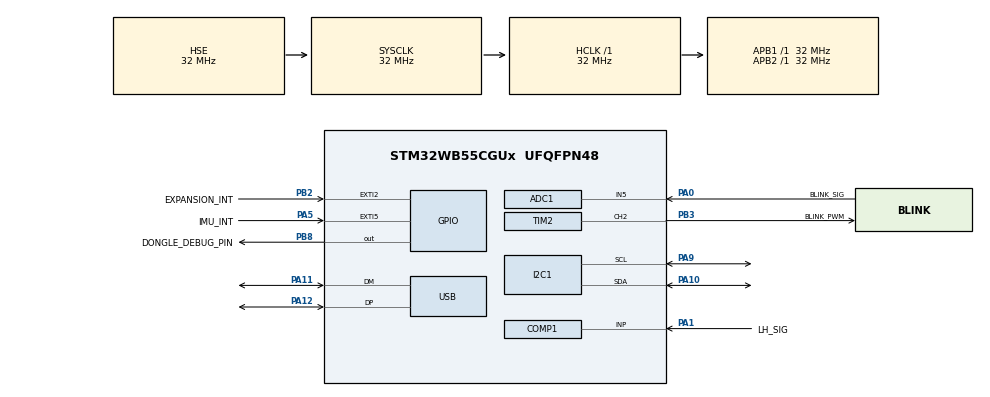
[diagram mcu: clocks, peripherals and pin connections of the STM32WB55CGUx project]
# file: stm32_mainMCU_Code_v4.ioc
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ADC1.Channel-0\#ChannelRegularConversion=ADC_CHANNEL_5
ADC1.ClockPrescaler=ADC_CLOCK_ASYNC_DIV32
ADC1.ContinuousConvMode=DISABLE
ADC1.DMAContinuousRequests=ENABLE
ADC1.EnableInjectedConversion=DISABLE
ADC1.ExternalTrigConv=ADC_EXTERNALTRIG_T2_TRGO
ADC1.NbrOfConversion=1
ADC1.NbrOfConversionFlag=1
ADC1.OffsetNumber-0\#ChannelRegularConversion=ADC_OFFSET_NONE
ADC1.Rank-0\#ChannelRegularConversion=1
ADC1.Resolution=ADC_RESOLUTION_8B
ADC1.SamplingTime-0\#ChannelRegularConversion=ADC_SAMPLETIME_247CYCLES_5
ADC1.master=1
COMP1.TriggerMode=COMP_TRIGGERMODE_IT_RISING_FALLING
Dma.ADC1.0.Direction=DMA_PERIPH_TO_MEMORY
Dma.ADC1.0.EventEnable=DISABLE
Dma.ADC1.0.Instance=DMA1_Channel1
Dma.ADC1.0.MemDataAlignment=DMA_MDATAALIGN_BYTE
Dma.ADC1.0.MemInc=DMA_MINC_ENABLE
Dma.ADC1.0.Mode=DMA_CIRCULAR
Dma.ADC1.0.PeriphDataAlignment=DMA_PDATAALIGN_BYTE
Dma.ADC1.0.PeriphInc=DMA_PINC_DISABLE
Dma.ADC1.0.Polarity=HAL_DMAMUX_REQ_GEN_RISING
Dma.ADC1.0.Priority=DMA_PRIORITY_LOW
Dma.ADC1.0.RequestNumber=1
Dma.ADC1.0.SignalID=NONE
Dma.ADC1.0.SyncEnable=DISABLE
Dma.ADC1.0.SyncPolarity=HAL_DMAMUX_SYNC_NO_EVENT
Dma.ADC1.0.SyncRequestNumber=1
Dma.ADC1.0.SyncSignalID=NONE
Dma.Request0=ADC1
FREERTOS.BinarySemaphores01=messageI2C_Lock,Dynamic,NULL;locNotify,Dynamic,NULL;locComplete,Dynamic,NULL;lightingLabDemoEnd,Dynamic,NULL
FREERTOS.Queues01=blinkMsgQueue,10,108,1,Dynamic,NULL,NULL;lightsSimpleQueue,3,4,1,Dynamic,NULL,NULL;togLoggingQueue,4,6,1,Dynamic,NULL,NULL;interProcessorMsgQueue,10,24,1,Dynamic,NULL,NULL;inertialSensingQueue,10,40,1,Dynamic,NULL,NULL;activitySampleQueue,10,16,1,Dynamic,NULL,NULL;rotationSampleQueue,3,24,1,Dynamic,NULL,NULL;pulseQueue,10,6,1,Dynamic,NULL,NULL;viveQueue,10,24,1,Dynamic,NULL,NULL;statusQueue,1,uint32_t,0,Dynamic,NULL,NULL;msgPasssingUSB_Queue,5,11,1,Dynamic,NULL,NULL
FREERTOS.Tasks01=defaultTask,24,512,DefaultTask,As weak,NULL,Dynamic,NULL,NULL;frontLightsTask,24,512,ThreadFrontLightsTask,As external,NULL,Dynamic,NULL,NULL;masterTask,24,512,MasterThreadTask,As external,NULL,Dynamic,NULL,NULL;inertialTask,24,1024,InertialSensingTask,As external,NULL,Dynamic,NULL,NULL;pulseTask,24,512,PulseHandlerTask,As external,NULL,Dynamic,NULL,NULL;interProcTask,24,512,InterProcessorTask,As external,NULL,Dynamic,NULL,NULL;blinkTask,24,512,BlinkTask,As external,NULL,Dynamic,NULL,NULL;msgPassingUSB_T,24,512,msgPassingUSB,As weak,NULL,Dynamic,NULL,NULL
FREERTOS.Timers01=viveTimer,get3D_location,osTimerPeriodic,As external,&viveStateVar,Dynamic,NULL;watchDogTimer,watchDogReset,osTimerPeriodic,Default,NULL,Dynamic,NULL
FREERTOS.configCHECK_FOR_STACK_OVERFLOW=0
FREERTOS.configGENERATE_RUN_TIME_STATS=0
FREERTOS.configMINIMAL_STACK_SIZE=512
FREERTOS.configQUEUE_REGISTRY_SIZE=12
FREERTOS.configRECORD_STACK_HIGH_ADDRESS=1
FREERTOS.configTOTAL_HEAP_SIZE=30000
FREERTOS.configUSE_MALLOC_FAILED_HOOK=0
FREERTOS.configUSE_TICKLESS_IDLE=2
FREERTOS.configUSE_TICK_HOOK=0
FREERTOS.configUSE_TRACE_FACILITY=1
I2C1.I2C_Fall_Time=200
I2C1.I2C_Rise_Time=200
I2C1.Timing=0x00E27CAE
Mcu.Family=STM32WB
Mcu.Name=STM32WB55CGUx
Mcu.Package=UFQFPN48
NVIC.COMP_IRQn=true\:5\:0\:false\:false\:true\:true\:false\:true
NVIC.DMA1_Channel1_IRQn=true\:5\:0\:false\:false\:true\:true\:false\:true
NVIC.EXTI2_IRQn=true\:5\:0\:false\:false\:true\:true\:true\:true
NVIC.EXTI9_5_IRQn=true\:5\:0\:false\:false\:true\:true\:true\:true
NVIC.HSEM_IRQn=true\:5\:0\:false\:false\:true\:false\:false\:true
NVIC.I2C1_EV_IRQn=true\:5\:0\:false\:false\:true\:true\:true\:true
NVIC.PriorityGroup=NVIC_PRIORITYGROUP_4
NVIC.TIM1_UP_TIM16_IRQn=true\:0\:0\:false\:false\:true\:false\:false\:true
NVIC.TIM2_IRQn=true\:5\:0\:false\:false\:true\:true\:true\:true
NVIC.TimeBase=TIM1_UP_TIM16_IRQn
NVIC.TimeBaseIP=TIM1
NVIC.USB_LP_IRQn=true\:5\:0\:false\:false\:true\:true\:false\:true
OSC_IN.Mode=HSE-External-Oscillator
OSC_IN.Signal=RCC_OSC_IN
OSC_OUT.Mode=HSE-External-Oscillator
OSC_OUT.Signal=RCC_OSC_OUT
PA0.GPIO_Label=BLINK_SIG
PA0.Signal=ADCx_IN5
PA1.GPIO_Label=LH_SIG
PA1.Mode=INP
PA1.Signal=COMP1_INP
PA10.GPIO_PuPdOD=GPIO_NOPULL
PA10.Mode=I2C
PA10.Signal=I2C1_SDA
PA11.Mode=Device
PA11.Signal=USB_DM
PA12.Mode=Device
PA12.Signal=USB_DP
PA13.Mode=Serial_Wire
PA13.Signal=SYS_JTMS-SWDIO
PA14.Mode=Serial_Wire
PA14.Signal=SYS_JTCK-SWCLK
PA5.GPIO_Label=IMU_INT
PA5.GPIO_ModeDefaultEXTI=GPIO_MODE_IT_FALLING
PA5.GPIO_PuPd=GPIO_PULLUP
PA5.Signal=GPXTI5
PA9.GPIO_PuPdOD=GPIO_NOPULL
PA9.Mode=I2C
PA9.Signal=I2C1_SCL
PB2.GPIO_Label=EXPANSION_INT
PB2.GPIO_PuPd=GPIO_NOPULL
PB2.Signal=GPXTI2
PB3.GPIO_Label=BLINK_PWM
PB3.Signal=S_TIM2_CH2
PB8.GPIO_Label=DONGLE_DEBUG_PIN
PB8.Signal=GPIO_Output
PC14-OSC32_IN.Mode=LSE-External-Oscillator
PC14-OSC32_IN.Signal=RCC_OSC32_IN
PC15-OSC32_OUT.Mode=LSE-External-Oscillator
PC15-OSC32_OUT.Signal=RCC_OSC32_OUT
ProjectManager.HeapSize=0x200
ProjectManager.StackSize=0x400
ProjectManager.TargetToolchain=STM32CubeIDE
RCC.ADCFreq_Value=48000000
RCC.AHBFreq_Value=32000000
RCC.APB1Freq_Value=32000000
RCC.APB1TimFreq_Value=32000000
RCC.APB2Freq_Value=32000000
RCC.APB2TimFreq_Value=32000000
RCC.APB3Freq_Value=16000000
RCC.CortexFreq_Value=32000000
RCC.HCLKFreq_Value=32000000
RCC.HSE_VALUE=32000000
RCC.HSI48_VALUE=48000000
RCC.HSI_VALUE=16000000
RCC.MSIClockRange=RCC_MSIRANGE_10
RCC.PLLM=RCC_PLLM_DIV2
RCC.PLLSAI1N=6
RCC.PLLSourceVirtual=RCC_PLLSOURCE_HSE
RCC.RFWKPClockSelection=RCC_RFWKPCLKSOURCE_LSE
RCC.RTCClockSelection=RCC_RTCCLKSOURCE_HSE_DIV32
RCC.SMPSCLockSelectionVirtual=RCC_SMPSCLKSOURCE_HSE
RCC.SMPSDivider=4
RCC.SYSCLKFreq_VALUE=32000000
RCC.SYSCLKSource=RCC_SYSCLKSOURCE_HSE
RCC.USBFreq_Value=48000000
RCC.VCOOutputFreq_Value=128000000
RF1.Mode=RF1_Activate
RF1.Signal=RF_RF1
SH.ADCx_IN5.0=ADC1_IN5,IN5-Single-Ended
SH.S_TIM2_CH2.0=TIM2_CH2,PWM Generation2 CH2
STM32_WPAN.APPLI_CONFIG_LOG_LEVEL=LOG_LEVEL_NONE
STM32_WPAN.CFG_DEBUGGER_SUPPORTED=0
STM32_WPAN.CFG_FAST_CONN_ADV_INTERVAL_MAX_HEXA=0x0
STM32_WPAN.CFG_FAST_CONN_ADV_INTERVAL_MIN_HEXA=0x0
STM32_WPAN.CFG_HW_USART1_ENABLED=0
STM32_WPAN.CFG_LP_CONN_ADV_INTERVAL_MAX_HEXA=0x0
STM32_WPAN.CFG_LP_CONN_ADV_INTERVAL_MIN_HEXA=0x0
STM32_WPAN.CHANNEL=23
STM32_WPAN.LOCAL_NAME_FORMATTED=,'0'
STM32_WPAN.PANID=1234
STM32_WPAN.THREAD_APPLICATION=FTD
TIM16.Period=65535
TIM16.Prescaler=31
TIM2.AutoReloadPreload=TIM_AUTORELOAD_PRELOAD_ENABLE
TIM2.Channel-Output\ Compare4\ No\ Output=TIM_CHANNEL_4
TIM2.Channel-PWM\ Generation2\ CH2=TIM_CHANNEL_2
TIM2.Channel-PWM\ Generation3\ CH3=TIM_CHANNEL_3
TIM2.CounterMode=TIM_COUNTERMODE_CENTERALIGNED1
TIM2.OC2Preload_PWM=DISABLE
TIM2.OC4Preload=DISABLE
TIM2.OCMode_PWM-PWM\ Generation2\ CH2=TIM_OCMODE_PWM1
TIM2.Period=10
TIM2.Prescaler=1599
TIM2.Pulse-PWM\ Generation2\ CH2=5
TIM2.TIM_MasterOutputTrigger=TIM_TRGO_UPDATE
TIM2.TIM_MasterSlaveMode=TIM_MASTERSLAVEMODE_DISABLE
USB_DEVICE.CLASS_NAME_FS=CDC
USB_DEVICE.VirtualMode=Cdc
USB_DEVICE.VirtualModeFS=Cdc_FS
VP_COMP1_VS_VREFINT12.Mode=VREFINT_12
VP_FREERTOS_VS_CMSIS_V2.Mode=CMSIS_V2
VP_HSEM_VS_HSEM.Mode=HSEM_Activate
VP_RTC_VS_RTC_Activate.Mode=RTC_Enabled
VP_STM32_WPAN_VS_THREAD.Mode=STM32_WPAN_Enabled
VP_SYS_VS_tim1.Mode=TIM1
VP_TIM16_VS_ClockSourceINT.Mode=Enable_Timer
VP_TIM2_VS_ClockSourceINT.Mode=Internal
VP_TIM2_VS_no_output4.Mode=Output Compare4 No Output
VP_TINY_LPM_VS_TINY_LPM.Mode=TINY_LPM_Enabled
VP_USB_DEVICE_VS_USB_DEVICE_CDC_FS.Mode=CDC_FS
board=custom

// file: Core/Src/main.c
/* USER CODE BEGIN Header */
/**
  ******************************************************************************
  * @file           : main.c
  * @brief          : Main program body
  ******************************************************************************
  * @attention
  *
  * <h2><center>&copy; Copyright (c) 2019 STMicroelectronics.
  * All rights reserved.</center></h2>
  *
  * This software component is licensed by ST under Ultimate Liberty license
  * SLA0044, the "License"; You may not use this file except in compliance with
  * the License. You may obtain a copy of the License at:
  *                             www.st.com/SLA0044
  *
  ******************************************************************************
  */
/* USER CODE END Header */
#include "main.h"
#include "cmsis_os.h"
#include "adc.h"
#include "comp.h"
#include "dma.h"
#include "i2c.h"
#include "rf.h"
#include "rtc.h"
#include "app_entry.h"
#include "app_common.h"
#include "tim.h"
#include "usb_device.h"
#include "gpio.h"

/* USER CODE BEGIN Includes */
#include "input.h"
#include "pulse_processor.h"
#include "circular_buffer.h"
#include "tsc.h"
#include "touch_detector.h"
#include "touchsensing.h"
#include "captivate_config.h"
#include "usbd_cdc.h"
#include "usb_device.h"
#include "touch_detector.h"
#include "otp.h"

#include "stm32_lpm.h"
#include "stm32_seq.h"
#include "dbg_trace.h"
#include "hw_conf.h"
/* USER CODE END Includes */

/* USER CODE BEGIN PD */
#define HAL_TSC_MODULE_ENABLED
/* USER CODE END PD */

void SystemClock_Config(void);
void MX_FREERTOS_Init(void);
/* USER CODE BEGIN PFP */
static void Reset_Device( void );
static void Reset_IPCC( void );
static void Reset_BackupDomain( void );
static void Init_Exti( void );
static void Config_HSE(void);
/* USER CODE END PFP */

int main(void)
{
  /* USER CODE BEGIN 1 */
	  /**
	   * The OPTVERR flag is wrongly set at power on
	   * It shall be cleared before using any HAL_FLASH_xxx() api
	   */
	   __HAL_FLASH_CLEAR_FLAG(FLASH_FLAG_OPTVERR);
  /* USER CODE END 1 */

  /* MCU Configuration--------------------------------------------------------*/

  /* Reset of all peripherals, Initializes the Flash interface and the Systick. */
  HAL_Init();

  /* USER CODE BEGIN Init */
  Reset_Device();
    Config_HSE();
  /* USER CODE END Init */

  /* Configure the system clock */
  SystemClock_Config();

  /* USER CODE BEGIN SysInit */
  Init_Exti(); /**< Configure the system Power Mode */

  /* USER CODE END SysInit */

  /* Initialize all configured peripherals */
  MX_GPIO_Init();
  MX_DMA_Init();
  MX_ADC1_Init();
  MX_RTC_Init();
  MX_TIM2_Init();
  MX_RF_Init();
  MX_I2C1_Init();
  MX_COMP1_Init();
  MX_TIM16_Init();
  MX_USB_Device_Init();
  /* USER CODE BEGIN 2 */
  MX_TSC_Init();

#ifndef BORDER_ROUTER_NODE
//  USBD_Stop(&hUsbDeviceFS);
#endif

//  HAL_IWDG_Refresh(&hiwdg);

  /* USER CODE END 2 */

  /* Init scheduler */
  osKernelInitialize();  /* Call init function for freertos objects (in freertos.c) */
  MX_FREERTOS_Init();
  /* Start scheduler */
  osKernelStart();

  /* We should never get here as control is now taken by the scheduler */
  /* Infinite loop */
  /* USER CODE BEGIN WHILE */
//	// start  PWM channel for blink LED
//	HAL_TIM_PWM_Start(&htim2, TIM_CHANNEL_2);
//
//	// start timer
//	HAL_TIM_Base_Start(&htim2);

  while (1)
  {
//	  UTIL_SEQ_Run( UTIL_SEQ_DEFAULT );
    /* USER CODE END WHILE */

  }
}

void SystemClock_Config(void)
{
  RCC_OscInitTypeDef RCC_OscInitStruct = {0};
  RCC_ClkInitTypeDef RCC_ClkInitStruct = {0};
  RCC_PeriphCLKInitTypeDef PeriphClkInitStruct = {0};

  /** Macro to configure the PLL multiplication factor
  */
  __HAL_RCC_PLL_PLLM_CONFIG(RCC_PLLM_DIV2);
  /** Macro to configure the PLL clock source
  */
  __HAL_RCC_PLL_PLLSOURCE_CONFIG(RCC_PLLSOURCE_HSE);
  /** Configure LSE Drive Capability
  */
  HAL_PWR_EnableBkUpAccess();
  __HAL_RCC_LSEDRIVE_CONFIG(RCC_LSEDRIVE_LOW);
  /** Configure the main internal regulator output voltage
  */
  __HAL_PWR_VOLTAGESCALING_CONFIG(PWR_REGULATOR_VOLTAGE_SCALE1);
  /** Initializes the RCC Oscillators according to the specified parameters
  * in the RCC_OscInitTypeDef structure.
  */
  RCC_OscInitStruct.OscillatorType = RCC_OSCILLATORTYPE_HSI|RCC_OSCILLATORTYPE_HSE
                              |RCC_OSCILLATORTYPE_LSE;
  RCC_OscInitStruct.HSEState = RCC_HSE_ON;
  RCC_OscInitStruct.LSEState = RCC_LSE_ON;
  RCC_OscInitStruct.HSIState = RCC_HSI_ON;
  RCC_OscInitStruct.HSICalibrationValue = RCC_HSICALIBRATION_DEFAULT;
  RCC_OscInitStruct.PLL.PLLState = RCC_PLL_NONE;
  if (HAL_RCC_OscConfig(&RCC_OscInitStruct) != HAL_OK)
  {
    Error_Handler();
  }
  /** Configure the SYSCLKSource, HCLK, PCLK1 and PCLK2 clocks dividers
  */
  RCC_ClkInitStruct.ClockType = RCC_CLOCKTYPE_HCLK4|RCC_CLOCKTYPE_HCLK2
                              |RCC_CLOCKTYPE_HCLK|RCC_CLOCKTYPE_SYSCLK
                              |RCC_CLOCKTYPE_PCLK1|RCC_CLOCKTYPE_PCLK2;
  RCC_ClkInitStruct.SYSCLKSource = RCC_SYSCLKSOURCE_HSE;
  RCC_ClkInitStruct.AHBCLKDivider = RCC_SYSCLK_DIV1;
  RCC_ClkInitStruct.APB1CLKDivider = RCC_HCLK_DIV1;
  RCC_ClkInitStruct.APB2CLKDivider = RCC_HCLK_DIV1;
  RCC_ClkInitStruct.AHBCLK2Divider = RCC_SYSCLK_DIV1;
  RCC_ClkInitStruct.AHBCLK4Divider = RCC_SYSCLK_DIV1;

  if (HAL_RCC_ClockConfig(&RCC_ClkInitStruct, FLASH_LATENCY_1) != HAL_OK)
  {
    Error_Handler();
  }
  /** Initializes the peripherals clocks
  */
  PeriphClkInitStruct.PeriphClockSelection = RCC_PERIPHCLK_SMPS|RCC_PERIPHCLK_RFWAKEUP
                              |RCC_PERIPHCLK_RTC|RCC_PERIPHCLK_I2C1
                              |RCC_PERIPHCLK_USB|RCC_PERIPHCLK_ADC;
  PeriphClkInitStruct.PLLSAI1.PLLN = 6;
  PeriphClkInitStruct.PLLSAI1.PLLP = RCC_PLLP_DIV2;
  PeriphClkInitStruct.PLLSAI1.PLLQ = RCC_PLLQ_DIV2;
  PeriphClkInitStruct.PLLSAI1.PLLR = RCC_PLLR_DIV2;
  PeriphClkInitStruct.PLLSAI1.PLLSAI1ClockOut = RCC_PLLSAI1_USBCLK|RCC_PLLSAI1_ADCCLK;
  PeriphClkInitStruct.I2c1ClockSelection = RCC_I2C1CLKSOURCE_PCLK1;
  PeriphClkInitStruct.UsbClockSelection = RCC_USBCLKSOURCE_PLLSAI1;
  PeriphClkInitStruct.AdcClockSelection = RCC_ADCCLKSOURCE_PLLSAI1;
  PeriphClkInitStruct.RTCClockSelection = RCC_RTCCLKSOURCE_HSE_DIV32;
  PeriphClkInitStruct.RFWakeUpClockSelection = RCC_RFWKPCLKSOURCE_LSE;
  PeriphClkInitStruct.SmpsClockSelection = RCC_SMPSCLKSOURCE_HSE;
  PeriphClkInitStruct.SmpsDivSelection = RCC_SMPSCLKDIV_RANGE1;
  if (HAL_RCCEx_PeriphCLKConfig(&PeriphClkInitStruct) != HAL_OK)
  {
    Error_Handler();
  }
}

/* USER CODE BEGIN 4 */
static void Config_HSE(void)
{
    OTP_ID0_t * p_otp;

  /**
   * Read HSE_Tuning from OTP
   */
  p_otp = (OTP_ID0_t *) OTP_Read(0);
  if (p_otp)
  {
    LL_RCC_HSE_SetCapacitorTuning(p_otp->hse_tuning);
  }

  return;
}

static void Reset_Device( void )
{
#if ( CFG_HW_RESET_BY_FW == 1 )
	Reset_BackupDomain();

	Reset_IPCC();
#endif

	return;
}

static void Reset_IPCC( void )
{
	LL_AHB3_GRP1_EnableClock(LL_AHB3_GRP1_PERIPH_IPCC);

	LL_C1_IPCC_ClearFlag_CHx(
			IPCC,
			LL_IPCC_CHANNEL_1 | LL_IPCC_CHANNEL_2 | LL_IPCC_CHANNEL_3 | LL_IPCC_CHANNEL_4
			| LL_IPCC_CHANNEL_5 | LL_IPCC_CHANNEL_6);

	LL_C2_IPCC_ClearFlag_CHx(
			IPCC,
			LL_IPCC_CHANNEL_1 | LL_IPCC_CHANNEL_2 | LL_IPCC_CHANNEL_3 | LL_IPCC_CHANNEL_4
			| LL_IPCC_CHANNEL_5 | LL_IPCC_CHANNEL_6);

	LL_C1_IPCC_DisableTransmitChannel(
			IPCC,
			LL_IPCC_CHANNEL_1 | LL_IPCC_CHANNEL_2 | LL_IPCC_CHANNEL_3 | LL_IPCC_CHANNEL_4
			| LL_IPCC_CHANNEL_5 | LL_IPCC_CHANNEL_6);

	LL_C2_IPCC_DisableTransmitChannel(
			IPCC,
			LL_IPCC_CHANNEL_1 | LL_IPCC_CHANNEL_2 | LL_IPCC_CHANNEL_3 | LL_IPCC_CHANNEL_4
			| LL_IPCC_CHANNEL_5 | LL_IPCC_CHANNEL_6);

	LL_C1_IPCC_DisableReceiveChannel(
			IPCC,
			LL_IPCC_CHANNEL_1 | LL_IPCC_CHANNEL_2 | LL_IPCC_CHANNEL_3 | LL_IPCC_CHANNEL_4
			| LL_IPCC_CHANNEL_5 | LL_IPCC_CHANNEL_6);

	LL_C2_IPCC_DisableReceiveChannel(
			IPCC,
			LL_IPCC_CHANNEL_1 | LL_IPCC_CHANNEL_2 | LL_IPCC_CHANNEL_3 | LL_IPCC_CHANNEL_4
			| LL_IPCC_CHANNEL_5 | LL_IPCC_CHANNEL_6);

	return;
}

static void Reset_BackupDomain( void )
{
	if ((LL_RCC_IsActiveFlag_PINRST() != FALSE) && (LL_RCC_IsActiveFlag_SFTRST() == FALSE))
	{
		HAL_PWR_EnableBkUpAccess(); /**< Enable access to the RTC registers */

		/**
		 *  Write twice the value to flush the APB-AHB bridge
		 *  This bit shall be written in the register before writing the next one
		 */
		HAL_PWR_EnableBkUpAccess();

		__HAL_RCC_BACKUPRESET_FORCE();
		__HAL_RCC_BACKUPRESET_RELEASE();
	}

	return;
}

static void Init_Exti( void )
{
  /**< Disable all wakeup interrupt on CPU1  except IPCC(36), HSEM(38) */
  LL_EXTI_DisableIT_0_31(~0);
  LL_EXTI_DisableIT_32_63( (~0) & (~(LL_EXTI_LINE_36 | LL_EXTI_LINE_38)) );

  return;
}
/* USER CODE END 4 */

 /**
  * @brief  Period elapsed callback in non blocking mode
  * @note   This function is called  when TIM1 interrupt took place, inside
  * HAL_TIM_IRQHandler(). It makes a direct call to HAL_IncTick() to increment
  * a global variable "uwTick" used as application time base.
  * @param  htim : TIM handle
  * @retval None
  */
void HAL_TIM_PeriodElapsedCallback(TIM_HandleTypeDef *htim)
{
  if (htim->Instance == TIM1) {
    HAL_IncTick();
  }
  /* USER CODE BEGIN Callback 1 */
#ifdef DONGLE_CODE
//  if (htim->Instance == TIM2) {
////	  HAL_GPIO_WritePin(DONGLE_DEBUG_PIN_GPIO_Port, DONGLE_DEBUG_PIN_Pin, GPIO_PIN_SET);
//	  HAL_GPIO_TogglePin(DONGLE_DEBUG_PIN_GPIO_Port, DONGLE_DEBUG_PIN_Pin);
//  }
#endif

//void HAL_TIM_PeriodElapsedHalfCpltCallback(TIM_HandleTypeDef *htim){
//#ifdef DONGLE_CODE
// if (htim->Instance == TIM2) {
//	 HAL_GPIO_WritePin(DONGLE_DEBUG_PIN_GPIO_Port, DONGLE_DEBUG_PIN_Pin, GPIO_PIN_RESET);
//  }
//#endif
//}
  /* USER CODE END Callback 1 */
}

void Error_Handler(void)
{
}

/************************ (C) COPYRIGHT STMicroelectronics *****END OF FILE****/

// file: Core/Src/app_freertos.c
/* USER CODE BEGIN Header */
/**
  ******************************************************************************
  * File Name          : app_freertos.c
  * Description        : Code for freertos applications
  ******************************************************************************
  * @attention
  *
  * <h2><center>&copy; Copyright (c) 2019 STMicroelectronics.
  * All rights reserved.</center></h2>
  *
  * This software component is licensed by ST under Ultimate Liberty license
  * SLA0044, the "License"; You may not use this file except in compliance with
  * the License. You may obtain a copy of the License at:
  *                             www.st.com/SLA0044
  *
  ******************************************************************************
  */
/* USER CODE END Header */

#include "FreeRTOS.h"
#include "task.h"
#include "main.h"
#include "cmsis_os.h"

/* USER CODE BEGIN Includes */
#include "adc.h"
#include "tim.h"
#include "lp5523.h"
#include "blink.h"
#include "app_entry.h"
#include "master_thread.h"
#include "system_settings.h"
#include "inter_processor_comms.h"
#include "inertial_sensing.h"
#include "input.h"
#include "pulse_processor.h"
#include "messages.h"
#include "captivate_config.h"
#include "input.h"
//#include "iwdg.h"
#include "usbd_cdc_if.h"
#include "coap.h"
#include "app_thread.h"
/* USER CODE END Includes */

/* USER CODE BEGIN Variables */

//osThreadId_t blinkTaskHandle;
////osMessageQueueId_t	blinkMsgQueueHandle;
//
//osThreadId_t 		frontLightsTaskHandle;
//osMessageQueueId_t	lightsSimpleQueueHandle;
//
//osMessageQueueId_t	togLoggingQueueHandle;
//osThreadId_t masterTaskHandle;
//
//osSemaphoreId_t messageI2C_LockSem;
//
//osThreadId_t inertialTaskHandle;
//osMessageQueueId_t inertialSensingQueueHandle;
//
//osMessageQueueId_t activitySampleQueueHandle;
//osMessageQueueId_t rotationSampleQueueHandle;
//
//osThreadId_t interProcTaskHandle;
//osMessageQueueId_t	 interProcessorMsgQueueHandle;
//
//osThreadId_t pulseTaskHandle;

//uint8_t temp[2048] = {0};
/* USER CODE END Variables */
/* Definitions for defaultTask */
osThreadId_t defaultTaskHandle;
const osThreadAttr_t defaultTask_attributes = {
  .name = "defaultTask",
  .priority = (osPriority_t) osPriorityNormal,
  .stack_size = 512 * 4
};
/* Definitions for frontLightsTask */
osThreadId_t frontLightsTaskHandle;
const osThreadAttr_t frontLightsTask_attributes = {
  .name = "frontLightsTask",
  .priority = (osPriority_t) osPriorityNormal,
  .stack_size = 512 * 4
};
/* Definitions for masterTask */
osThreadId_t masterTaskHandle;
const osThreadAttr_t masterTask_attributes = {
  .name = "masterTask",
  .priority = (osPriority_t) osPriorityNormal,
  .stack_size = 512 * 4
};
/* Definitions for inertialTask */
osThreadId_t inertialTaskHandle;
const osThreadAttr_t inertialTask_attributes = {
  .name = "inertialTask",
  .priority = (osPriority_t) osPriorityNormal,
  .stack_size = 1024 * 4
};
/* Definitions for pulseTask */
osThreadId_t pulseTaskHandle;
const osThreadAttr_t pulseTask_attributes = {
  .name = "pulseTask",
  .priority = (osPriority_t) osPriorityNormal,
  .stack_size = 512 * 4
};
/* Definitions for interProcTask */
osThreadId_t interProcTaskHandle;
const osThreadAttr_t interProcTask_attributes = {
  .name = "interProcTask",
  .priority = (osPriority_t) osPriorityNormal,
  .stack_size = 512 * 4
};
/* Definitions for blinkTask */
osThreadId_t blinkTaskHandle;
const osThreadAttr_t blinkTask_attributes = {
  .name = "blinkTask",
  .priority = (osPriority_t) osPriorityNormal,
  .stack_size = 512 * 4
};
/* Definitions for msgPassingUSB_T */
osThreadId_t msgPassingUSB_THandle;
const osThreadAttr_t msgPassingUSB_T_attributes = {
  .name = "msgPassingUSB_T",
  .priority = (osPriority_t) osPriorityNormal,
  .stack_size = 512 * 4
};
/* Definitions for blinkMsgQueue */
osMessageQueueId_t blinkMsgQueueHandle;
const osMessageQueueAttr_t blinkMsgQueue_attributes = {
  .name = "blinkMsgQueue"
};
/* Definitions for lightsSimpleQueue */
osMessageQueueId_t lightsSimpleQueueHandle;
const osMessageQueueAttr_t lightsSimpleQueue_attributes = {
  .name = "lightsSimpleQueue"
};
/* Definitions for togLoggingQueue */
osMessageQueueId_t togLoggingQueueHandle;
const osMessageQueueAttr_t togLoggingQueue_attributes = {
  .name = "togLoggingQueue"
};
/* Definitions for interProcessorMsgQueue */
osMessageQueueId_t interProcessorMsgQueueHandle;
const osMessageQueueAttr_t interProcessorMsgQueue_attributes = {
  .name = "interProcessorMsgQueue"
};
/* Definitions for inertialSensingQueue */
osMessageQueueId_t inertialSensingQueueHandle;
const osMessageQueueAttr_t inertialSensingQueue_attributes = {
  .name = "inertialSensingQueue"
};
/* Definitions for activitySampleQueue */
osMessageQueueId_t activitySampleQueueHandle;
const osMessageQueueAttr_t activitySampleQueue_attributes = {
  .name = "activitySampleQueue"
};
/* Definitions for rotationSampleQueue */
osMessageQueueId_t rotationSampleQueueHandle;
const osMessageQueueAttr_t rotationSampleQueue_attributes = {
  .name = "rotationSampleQueue"
};
/* Definitions for pulseQueue */
osMessageQueueId_t pulseQueueHandle;
const osMessageQueueAttr_t pulseQueue_attributes = {
  .name = "pulseQueue"
};
/* Definitions for viveQueue */
osMessageQueueId_t viveQueueHandle;
const osMessageQueueAttr_t viveQueue_attributes = {
  .name = "viveQueue"
};
/* Definitions for statusQueue */
osMessageQueueId_t statusQueueHandle;
const osMessageQueueAttr_t statusQueue_attributes = {
  .name = "statusQueue"
};
/* Definitions for msgPasssingUSB_Queue */
osMessageQueueId_t msgPasssingUSB_QueueHandle;
const osMessageQueueAttr_t msgPasssingUSB_Queue_attributes = {
  .name = "msgPasssingUSB_Queue"
};
/* Definitions for viveTimer */
osTimerId_t viveTimerHandle;
const osTimerAttr_t viveTimer_attributes = {
  .name = "viveTimer"
};
/* Definitions for watchDogTimer */
osTimerId_t watchDogTimerHandle;
const osTimerAttr_t watchDogTimer_attributes = {
  .name = "watchDogTimer"
};
/* Definitions for messageI2C_Lock */
osSemaphoreId_t messageI2C_LockHandle;
const osSemaphoreAttr_t messageI2C_Lock_attributes = {
  .name = "messageI2C_Lock"
};
/* Definitions for locNotify */
osSemaphoreId_t locNotifyHandle;
const osSemaphoreAttr_t locNotify_attributes = {
  .name = "locNotify"
};
/* Definitions for locComplete */
osSemaphoreId_t locCompleteHandle;
const osSemaphoreAttr_t locComplete_attributes = {
  .name = "locComplete"
};
/* Definitions for lightingLabDemoEnd */
osSemaphoreId_t lightingLabDemoEndHandle;
const osSemaphoreAttr_t lightingLabDemoEnd_attributes = {
  .name = "lightingLabDemoEnd"
};

void DefaultTask(void *argument);
extern void ThreadFrontLightsTask(void *argument);
extern void MasterThreadTask(void *argument);
extern void InertialSensingTask(void *argument);
extern void PulseHandlerTask(void *argument);
extern void InterProcessorTask(void *argument);
extern void BlinkTask(void *argument);
void msgPassingUSB(void *argument);
extern void get3D_location(void *argument);
void watchDogReset(void *argument);

void MX_FREERTOS_Init(void); /* (MISRA C 2004 rule 8.1) */

/* Hook prototypes */
void configureTimerForRunTimeStats(void);
unsigned long getRunTimeCounterValue(void);
void vApplicationTickHook(void);
void vApplicationStackOverflowHook(xTaskHandle xTask, signed char *pcTaskName);
void vApplicationMallocFailedHook(void);

/* USER CODE BEGIN 1 */
/* Functions needed when configGENERATE_RUN_TIME_STATS is on */
volatile unsigned long ulHighFrequencyTimerTicks;
__weak void configureTimerForRunTimeStats(void)
{

}

__weak unsigned long getRunTimeCounterValue(void)
{
return HAL_GetTick();
}
/* USER CODE END 1 */

/* USER CODE BEGIN 3 */
__weak void vApplicationTickHook( void )
{
   /* This function will be called by each tick interrupt if
   configUSE_TICK_HOOK is set to 1 in FreeRTOSConfig.h. User code can be
   added here, but the tick hook is called from an interrupt context, so
   code must not attempt to block, and only the interrupt safe FreeRTOS API
   functions can be used (those that end in FromISR()). */
}
/* USER CODE END 3 */

/* USER CODE BEGIN 4 */
volatile uint8_t test=0;
__weak void vApplicationStackOverflowHook(xTaskHandle xTask, signed char *pcTaskName)
{

   /* Run time stack overflow checking is performed if
   configCHECK_FOR_STACK_OVERFLOW is defined to 1 or 2. This hook function is
   called if a stack overflow is detected. */
	test += 1;
}
/* USER CODE END 4 */

/* USER CODE BEGIN 5 */
__weak void vApplicationMallocFailedHook(void)
{
   /* vApplicationMallocFailedHook() will only be called if
   configUSE_MALLOC_FAILED_HOOK is set to 1 in FreeRTOSConfig.h. It is a hook
   function that will get called if a call to pvPortMalloc() fails.
   pvPortMalloc() is called internally by the kernel whenever a task, queue,
   timer or semaphore is created. It is also called by various parts of the
   demo application. If heap_1.c or heap_2.c are used, then the size of the
   heap available to pvPortMalloc() is defined by configTOTAL_HEAP_SIZE in
   FreeRTOSConfig.h, and the xPortGetFreeHeapSize() API function can be used
   to query the size of free heap space that remains (although it does not
   provide information on how the remaining heap might be fragmented). */
	test += 1;

}
/* USER CODE END 5 */

/* USER CODE BEGIN VPORT_SUPPORT_TICKS_AND_SLEEP */
__weak void vPortSuppressTicksAndSleep( TickType_t xExpectedIdleTime )
{
  // Generated when configUSE_TICKLESS_IDLE == 2.
  // Function called in tasks.c (in portTASK_FUNCTION).
  // TO BE COMPLETED or TO BE REPLACED by a user one, overriding that weak one.
}
/* USER CODE END VPORT_SUPPORT_TICKS_AND_SLEEP */

void MX_FREERTOS_Init(void) {

  /* Create the semaphores(s) */
  /* creation of messageI2C_Lock */
  messageI2C_LockHandle = osSemaphoreNew(1, 1, &messageI2C_Lock_attributes);

  /* creation of locNotify */
  locNotifyHandle = osSemaphoreNew(1, 1, &locNotify_attributes);

  /* creation of locComplete */
  locCompleteHandle = osSemaphoreNew(1, 1, &locComplete_attributes);

  /* creation of lightingLabDemoEnd */
  lightingLabDemoEndHandle = osSemaphoreNew(1, 1, &lightingLabDemoEnd_attributes);

  /* USER CODE BEGIN RTOS_SEMAPHORES */
////  /* add semaphores, ... */
  /* USER CODE END RTOS_SEMAPHORES */

  /* Create the timer(s) */
  /* creation of viveTimer */
  viveTimerHandle = osTimerNew(get3D_location, osTimerPeriodic, (void*) &viveStateVar, &viveTimer_attributes);

  /* creation of watchDogTimer */
  watchDogTimerHandle = osTimerNew(watchDogReset, osTimerPeriodic, NULL, &watchDogTimer_attributes);

  /* USER CODE BEGIN RTOS_TIMERS */
////  /* start timers, add new ones, ... */
//  osTimerStart(watchDogTimerHandle, WATCHDOG_PERIOD);
//
  /* USER CODE END RTOS_TIMERS */

  /* Create the queue(s) */
  /* creation of blinkMsgQueue */
  blinkMsgQueueHandle = osMessageQueueNew (10, 108, &blinkMsgQueue_attributes);

  /* creation of lightsSimpleQueue */
  lightsSimpleQueueHandle = osMessageQueueNew (3, 4, &lightsSimpleQueue_attributes);

  /* creation of togLoggingQueue */
  togLoggingQueueHandle = osMessageQueueNew (4, 6, &togLoggingQueue_attributes);

  /* creation of interProcessorMsgQueue */
  interProcessorMsgQueueHandle = osMessageQueueNew (10, 24, &interProcessorMsgQueue_attributes);

  /* creation of inertialSensingQueue */
  inertialSensingQueueHandle = osMessageQueueNew (10, 40, &inertialSensingQueue_attributes);

  /* creation of activitySampleQueue */
  activitySampleQueueHandle = osMessageQueueNew (10, 16, &activitySampleQueue_attributes);

  /* creation of rotationSampleQueue */
  rotationSampleQueueHandle = osMessageQueueNew (3, 24, &rotationSampleQueue_attributes);

  /* creation of pulseQueue */
  pulseQueueHandle = osMessageQueueNew (10, 6, &pulseQueue_attributes);

  /* creation of viveQueue */
  viveQueueHandle = osMessageQueueNew (10, 24, &viveQueue_attributes);

  /* creation of statusQueue */
  statusQueueHandle = osMessageQueueNew (1, sizeof(uint32_t), &statusQueue_attributes);

  /* creation of msgPasssingUSB_Queue */
  msgPasssingUSB_QueueHandle = osMessageQueueNew (5, 11, &msgPasssingUSB_Queue_attributes);

  /* USER CODE BEGIN RTOS_QUEUES */
//  /* add queues, ... */
  /* USER CODE END RTOS_QUEUES */

  /* Create the thread(s) */
  /* creation of defaultTask */
  defaultTaskHandle = osThreadNew(DefaultTask, NULL, &defaultTask_attributes);

  /* creation of frontLightsTask */
  frontLightsTaskHandle = osThreadNew(ThreadFrontLightsTask, NULL, &frontLightsTask_attributes);

  /* creation of masterTask */
  masterTaskHandle = osThreadNew(MasterThreadTask, NULL, &masterTask_attributes);

  /* creation of inertialTask */
  inertialTaskHandle = osThreadNew(InertialSensingTask, NULL, &inertialTask_attributes);

  /* creation of pulseTask */
  pulseTaskHandle = osThreadNew(PulseHandlerTask, NULL, &pulseTask_attributes);

  /* creation of interProcTask */
  interProcTaskHandle = osThreadNew(InterProcessorTask, NULL, &interProcTask_attributes);

  /* creation of blinkTask */
  blinkTaskHandle = osThreadNew(BlinkTask, NULL, &blinkTask_attributes);

  /* creation of msgPassingUSB_T */
  msgPassingUSB_THandle = osThreadNew(msgPassingUSB, NULL, &msgPassingUSB_T_attributes);

  /* USER CODE BEGIN RTOS_THREADS */
//
//  // ensure binary notification semaphores are initially empty
//  osSemaphoreAcquire(locNotifyHandle, 0);
//  osSemaphoreAcquire(locCompleteHandle, 0);

   /* add threads, ... */

	/* Init code for STM32_WPAN */
	APPE_Init();

  /* USER CODE END RTOS_THREADS */

}

__weak void DefaultTask(void *argument)
{
  for(;;)
  {
    osDelay(1);
  }
}

__weak void msgPassingUSB(void *argument)
{
  /* USER CODE BEGIN msgPassingUSB */
	struct USB_msgPass receivedPacket;
  /* Infinite loop */
  for(;;)
  {
    while(1){
    	osMessageQueueGet(msgPasssingUSB_QueueHandle, &receivedPacket, 0U, osWaitForever);

    	if(receivedPacket.len == 6){
//    		  logReceivedMessage.status = Buf[0] - '0';
//    		  logReceivedMessage.logStatus = Buf[1] - '0';
//    		  logReceivedMessage.blinkEnabled = Buf[2] - '0';
//    		  logReceivedMessage.tempEnabled = Buf[3] - '0';
//    		  logReceivedMessage.intertialEnabled = Buf[4] - '0';
//    		  logReceivedMessage.positionEnabled  = Buf[5] - '0';

    		  APP_THREAD_SendCoapMsg(receivedPacket.buf, 6, &multicastAddr, "togLog", NO_ACK, OT_COAP_CODE_PUT, 1U);
    	  }
    	  else if(receivedPacket.len == 1){
//    		  lightsSimpleReceivedMessage = Buf[0] - '0';

    		  APP_THREAD_SendCoapMsg(receivedPacket.buf, 4, &multicastAddr, "lightS", NO_ACK, OT_COAP_CODE_PUT, 1U);
    	  }

    }
  }
  /* USER CODE END msgPassingUSB */
}

/* watchDogReset function */
void watchDogReset(void *argument)
{
  /* USER CODE BEGIN watchDogReset */
//	 HAL_IWDG_Refresh(&hiwdg);

  /* USER CODE END watchDogReset */
}

/* USER CODE BEGIN Application */
//void startSensorThreads(void){
//	/* creation of messageI2C_Lock */
//	messageI2C_LockHandle = osSemaphoreNew(1, 1, &messageI2C_Lock_attributes);
//
//	/* creation of blinkMsgQueue */
//	blinkMsgQueueHandle = osMessageQueueNew (10, 108, &blinkMsgQueue_attributes);
//
//	/* creation of lightsSimpleQueue */
//	lightsSimpleQueueHandle = osMessageQueueNew (3, 4, &lightsSimpleQueue_attributes);
//
//	/* creation of togLoggingQueue */
//	togLoggingQueueHandle = osMessageQueueNew (4, 6, &togLoggingQueue_attributes);
//
//	/* creation of interProcessorMsgQueue */
//	interProcessorMsgQueueHandle = osMessageQueueNew (10, 24, &interProcessorMsgQueue_attributes);
//
//	/* creation of inertialSensingQueue */
//	inertialSensingQueueHandle = osMessageQueueNew (10, 40, &inertialSensingQueue_attributes);
//
//	/* creation of activitySampleQueue */
//	activitySampleQueueHandle = osMessageQueueNew (10, 16, &activitySampleQueue_attributes);
//
//	/* creation of rotationSampleQueue */
//	rotationSampleQueueHandle = osMessageQueueNew (3, 24, &rotationSampleQueue_attributes);
//
//	/* creation of pulseQueue */
//	pulseQueueHandle = osMessageQueueNew (10, 6, &pulseQueue_attributes);
//
//	/* creation of viveQueue */
//	viveQueueHandle = osMessageQueueNew (10, 24, &viveQueue_attributes);
//
//	/* creation of inertialTask */
////	inertialTaskHandle = osThreadNew(InertialSensingTask, NULL, &inertialTask_attributes);
////
////	/* creation of pulseTask */
////	pulseTaskHandle = osThreadNew(PulseHandlerTask, NULL, &pulseTask_attributes);
////
////	/* creation of interProcTask */
////	interProcTaskHandle = osThreadNew(InterProcessorTask, NULL, &interProcTask_attributes);
//
//	/* creation of blinkTask */
////	blinkTaskHandle = osThreadNew(BlinkTask, NULL, &blinkTask_attributes);
//
////	/* creation of masterTask */
////	masterTaskHandle = osThreadNew(MasterThreadTask, NULL, &masterTask_attributes);
//
//	/* creation of frontLightsTask */
////	frontLightsTaskHandle = osThreadNew(ThreadFrontLightsTask, NULL, &frontLightsTask_attributes);
//}
/* USER CODE END Application */

/************************ (C) COPYRIGHT STMicroelectronics *****END OF FILE****/
